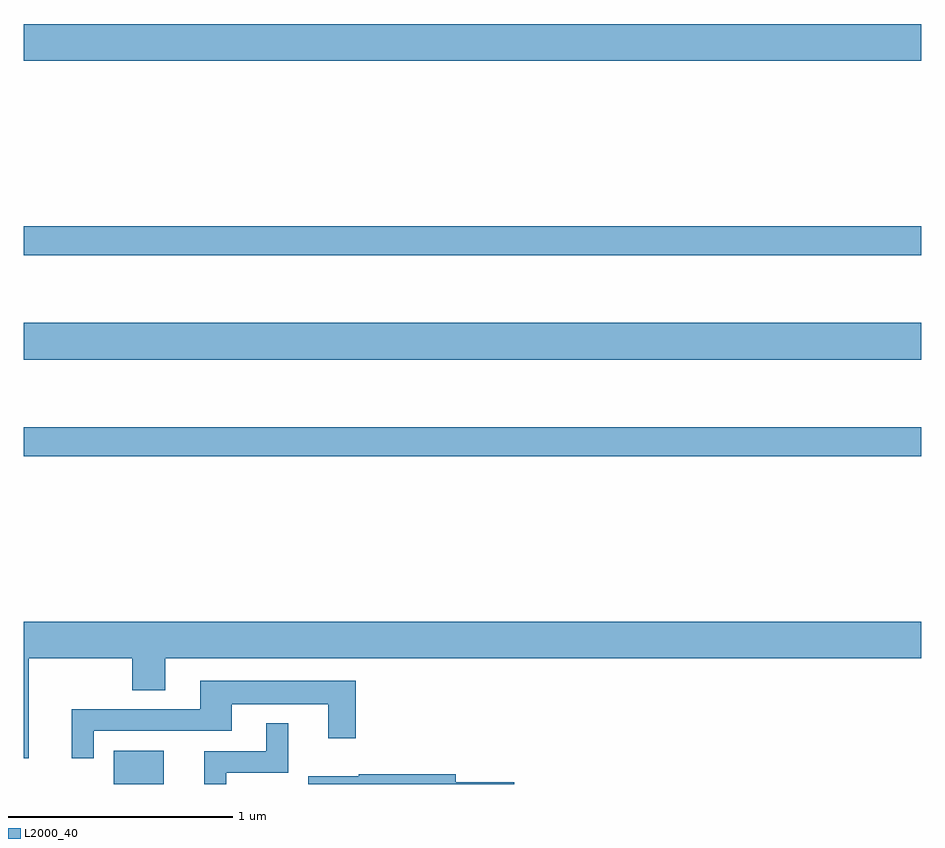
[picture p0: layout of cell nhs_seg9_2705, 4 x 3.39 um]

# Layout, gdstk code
import gdstk
lib = gdstk.Library(unit=1e-6, precision=1e-09)
def R(c, l, rs):  # rectangles x0, y0, x1, y1
    for r in rs: c.add(gdstk.rectangle(r[:2], r[2:], *l))
def P(c, l, *ps):  # polygons
    for p in ps: c.add(gdstk.Polygon(p, *l))
L2000_40 = (2000, 40)

nhs_seg9_2705 = lib.new_cell('nhs_seg9_2705')
R(nhs_seg9_2705, L2000_40, [(265.4,1222.5,265.624,1222.648), (265,1223.962,269,1224.091), (265,1224.392,269,1224.556), (265,1224.858,269,1224.986), (265,1225.724,269,1225.888)])
P(nhs_seg9_2705, L2000_40, [(265.022,1223.06),(265.483,1223.06),(265.483,1222.918),(265.63,1222.918),(265.63,1223.06),(269,1223.06),(269,1223.224),(265,1223.224),(265,1222.614),(265.022,1222.614)],
  [(265.311,1222.737),(265.927,1222.737),(265.927,1222.856),(266.357,1222.856),(266.357,1222.704),(266.479,1222.704),(266.479,1222.96),(265.787,1222.96),(265.787,1222.833),(265.214,1222.833),(265.214,1222.614),(265.311,1222.614)],
  [(265.902,1222.551),(266.179,1222.551),(266.179,1222.771),(266.081,1222.771),(266.081,1222.647),(265.805,1222.647),(265.805,1222.5),(265.902,1222.5)],
  [(267.187,1222.508),(266.926,1222.508),(266.926,1222.544),(266.493,1222.544),(266.493,1222.534),(266.267,1222.534),(266.267,1222.5),(267.187,1222.5)])

lib.write_gds('nhs_seg9_2705.gds')
